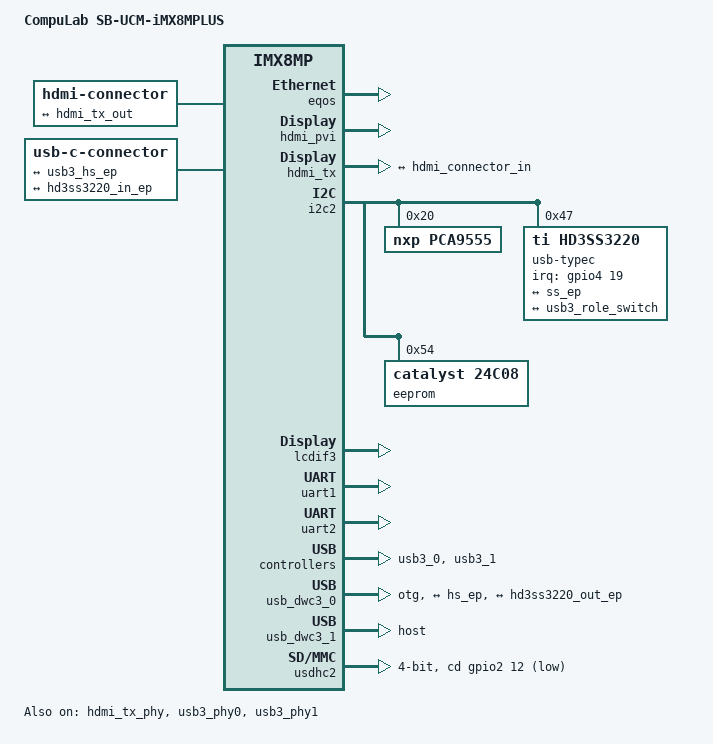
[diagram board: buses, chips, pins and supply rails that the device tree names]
// SPDX-License-Identifier: (GPL-2.0+ OR MIT)
/*
 * Copyright 2021 CompuLab
 * Copyright 2024 Ideas on Board Oy
 */

/dts-v1/;

#include <dt-bindings/clock/imx8mp-clock.h>
#include <dt-bindings/gpio/gpio.h>
#include <dt-bindings/interrupt-controller/irq.h>
#include <dt-bindings/usb/pd.h>

#include "imx8mp-pinfunc.h"
#include "imx8mp-ucm.dtsi"

/ {
	model = "CompuLab SB-UCM-iMX8MPLUS";
	compatible = "compulab,sb-ucm-imx8mp", "compulab,ucm-imx8mp", "fsl,imx8mp";

	chosen {
		stdout-path = &uart2;
	};

	hdmi-connector {
		compatible = "hdmi-connector";
		label = "hdmi";
		type = "a";

		port {
			hdmi_connector_in: endpoint {
				remote-endpoint = <&hdmi_tx_out>;
			};
		};
	};

	usb-connector {
		compatible = "usb-c-connector";
		label = "USB-C";
		data-role = "dual";

		ports {
			#address-cells = <1>;
			#size-cells = <0>;

			port@0 {
				reg = <0>;

				hs_ep: endpoint {
					remote-endpoint = <&usb3_hs_ep>;
				};
			};
			port@1 {
				reg = <1>;

				ss_ep: endpoint {
					remote-endpoint = <&hd3ss3220_in_ep>;
				};
			};
		};
	};
};

&eqos {
	status = "okay";
};

&hdmi_pvi {
	status = "okay";
};

&hdmi_tx {
	pinctrl-names = "default";
	pinctrl-0 = <&pinctrl_hdmi>;
	status = "okay";

	ports {
		port@1 {
			hdmi_tx_out: endpoint {
				remote-endpoint = <&hdmi_connector_in>;
			};
		};
	};
};

&hdmi_tx_phy {
	status = "okay";
};

&i2c2 {
	pca9555: gpio@20 {
		compatible = "nxp,pca9555";
		reg = <0x20>;
		gpio-controller;
		#gpio-cells = <2>;
	};

	usb-typec@47 {
		compatible = "ti,hd3ss3220";
		reg = <0x47>;
		pinctrl-names = "default";
		pinctrl-0 = <&pinctrl_typec>;
		interrupt-parent = <&gpio4>;
		interrupts = <19 IRQ_TYPE_LEVEL_LOW>;

		ports {
			#address-cells = <1>;
			#size-cells = <0>;

			port@0 {
				reg = <0>;

				hd3ss3220_in_ep: endpoint {
					remote-endpoint = <&ss_ep>;
				};
			};

			port@1 {
				reg = <1>;

				hd3ss3220_out_ep: endpoint {
					remote-endpoint = <&usb3_role_switch>;
				};
			};
		};
	};

	eeprom@54 {
		compatible = "catalyst,24c08", "atmel,24c08";
		reg = <0x54>;
		pagesize = <16>;
	};
};

&iomuxc {
	pinctrl_hdmi: hdmigrp {
		fsl,pins = <
			MX8MP_IOMUXC_HDMI_DDC_SCL__HDMIMIX_HDMI_SCL	0x1c2
			MX8MP_IOMUXC_HDMI_DDC_SDA__HDMIMIX_HDMI_SDA	0x1c2
			MX8MP_IOMUXC_HDMI_HPD__HDMIMIX_HDMI_HPD		0x0
			MX8MP_IOMUXC_HDMI_CEC__HDMIMIX_HDMI_CEC		0x0
		>;
	};

	pinctrl_typec: typec1grp {
		fsl,pins = <
			MX8MP_IOMUXC_SAI1_TXD7__GPIO4_IO19		0x1c4
		>;
	};

	pinctrl_uart1: uart1grp {
		fsl,pins = <
			MX8MP_IOMUXC_UART1_RXD__UART1_DCE_RX		0x140
			MX8MP_IOMUXC_UART1_TXD__UART1_DCE_TX		0x140
		>;
	};

	pinctrl_uart2: uart2grp {
		fsl,pins = <
			MX8MP_IOMUXC_UART2_RXD__UART2_DCE_RX		0x140
			MX8MP_IOMUXC_UART2_TXD__UART2_DCE_TX		0x140
		>;
	};

	pinctrl_usdhc2_gpio: usdhc2-gpiogrp {
		fsl,pins = <
			MX8MP_IOMUXC_SD2_CD_B__GPIO2_IO12		0x1c4
		>;
	};

	pinctrl_usdhc2: usdhc2grp {
		fsl,pins = <
			MX8MP_IOMUXC_SD2_CLK__USDHC2_CLK		0x190
			MX8MP_IOMUXC_SD2_CMD__USDHC2_CMD		0x1d0
			MX8MP_IOMUXC_SD2_DATA0__USDHC2_DATA0		0x1d0
			MX8MP_IOMUXC_SD2_DATA1__USDHC2_DATA1		0x1d0
			MX8MP_IOMUXC_SD2_DATA2__USDHC2_DATA2		0x1d0
			MX8MP_IOMUXC_SD2_DATA3__USDHC2_DATA3		0x1d0
			MX8MP_IOMUXC_GPIO1_IO04__USDHC2_VSELECT		0xc0
		>;
	};

	pinctrl_usdhc2_100mhz: usdhc2-100mhzgrp {
		fsl,pins = <
			MX8MP_IOMUXC_SD2_CLK__USDHC2_CLK		0x194
			MX8MP_IOMUXC_SD2_CMD__USDHC2_CMD		0x1d4
			MX8MP_IOMUXC_SD2_DATA0__USDHC2_DATA0		0x1d4
			MX8MP_IOMUXC_SD2_DATA1__USDHC2_DATA1		0x1d4
			MX8MP_IOMUXC_SD2_DATA2__USDHC2_DATA2		0x1d4
			MX8MP_IOMUXC_SD2_DATA3__USDHC2_DATA3		0x1d4
			MX8MP_IOMUXC_GPIO1_IO04__USDHC2_VSELECT		0xc0
		>;
	};

	pinctrl_usdhc2_200mhz: usdhc2-200mhzgrp {
		fsl,pins = <
			MX8MP_IOMUXC_SD2_CLK__USDHC2_CLK		0x196
			MX8MP_IOMUXC_SD2_CMD__USDHC2_CMD		0x1d6
			MX8MP_IOMUXC_SD2_DATA0__USDHC2_DATA0		0x1d6
			MX8MP_IOMUXC_SD2_DATA1__USDHC2_DATA1		0x1d6
			MX8MP_IOMUXC_SD2_DATA2__USDHC2_DATA2		0x1d6
			MX8MP_IOMUXC_SD2_DATA3__USDHC2_DATA3		0x1d6
			MX8MP_IOMUXC_GPIO1_IO04__USDHC2_VSELECT		0xc0
		>;
	};
};

&lcdif3 {
	status = "okay";
};

&uart1 {
	pinctrl-names = "default";
	pinctrl-0 = <&pinctrl_uart1>;
	status = "okay";
};

/* Serial debug console */
&uart2 {
	pinctrl-names = "default";
	pinctrl-0 = <&pinctrl_uart2>;
	status = "okay";
};

&usb3_0 {
	status = "okay";
};

&usb_dwc3_0 {
	dr_mode = "otg";
	hnp-disable;
	srp-disable;
	adp-disable;
	usb-role-switch;
	status = "okay";

	ports {
		#address-cells = <1>;
		#size-cells = <0>;

		port@0 {
			reg = <0>;
			usb3_hs_ep: endpoint {
				remote-endpoint = <&hs_ep>;
			};
		};
		port@1 {
			reg = <1>;
			usb3_role_switch: endpoint {
				remote-endpoint = <&hd3ss3220_out_ep>;
			};
		};
	};
};

&usb3_phy0 {
	status = "okay";
};

&usb3_1 {
	status = "okay";
};

&usb_dwc3_1 {
	dr_mode = "host";
	status = "okay";
};

&usb3_phy1 {
	status = "okay";
};

/* Micro-SD socket */
&usdhc2 {
	assigned-clocks = <&clk IMX8MP_CLK_USDHC2>;
	assigned-clock-rates = <400000000>;
	pinctrl-names = "default", "state_100mhz", "state_200mhz";
	pinctrl-0 = <&pinctrl_usdhc2>, <&pinctrl_usdhc2_gpio>;
	pinctrl-1 = <&pinctrl_usdhc2_100mhz>, <&pinctrl_usdhc2_gpio>;
	pinctrl-2 = <&pinctrl_usdhc2_200mhz>, <&pinctrl_usdhc2_gpio>;
	cd-gpios = <&gpio2 12 GPIO_ACTIVE_LOW>;
	bus-width = <4>;
	status = "okay";
};
